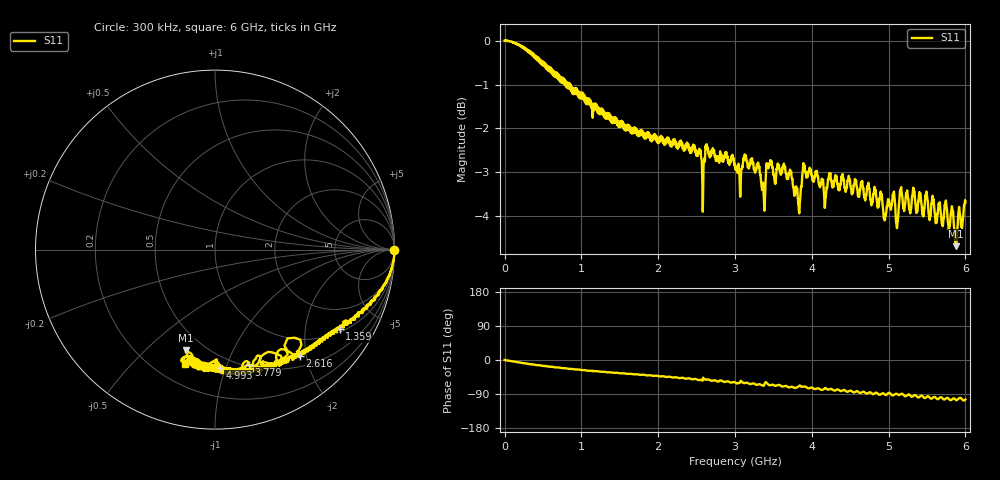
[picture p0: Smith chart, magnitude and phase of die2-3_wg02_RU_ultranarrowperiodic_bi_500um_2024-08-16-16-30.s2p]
!Keysight Technologies,P9374A,MY57304198,A.17.20.09
!Date: Friday, August 16, 2024 16:30:38
!Correction: S11(C  1-Port  )
!S21(C  1-Port  )
!S12(Off)
!S22(Off)
!S2P File: Measurements: S11, S21, S12, S22:
# Hz S  dB  R 50
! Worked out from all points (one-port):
!   6000 points, 300 kHz to 6 GHz, reference 50 ohm
!   lowest |S11| = -4.7 dB at 5.88 GHz (marker M1), VSWR 3.80, Z = 19.8 - j33.8 ohm
!   |S11| at or under -10 dB: nowhere
!   S11 on the Smith chart (normalised r, x): 300 kHz: open; 1.359 GHz: 1.11, -3.06; 2.616 GHz: 0.67, -1.88; 3.779 GHz: 0.51, -1.20; 4.993 GHz: 0.41, -0.95; 6 GHz: 0.33, -0.73
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300000  -0.00 -0.0  -200.00 45.0  -200.00 45.0  -200.00 45.0
4.20349e8  -0.36 -13.2  -200.00 45.0  -200.00 45.0  -200.00 45.0
1.000417e9  -1.28 -26.6  -200.00 45.0  -200.00 45.0  -200.00 45.0
1.359459e9  -1.68 -32.6  -200.00 45.0  -200.00 45.0  -200.00 45.0
2.000533e9  -2.31 -42.4  -200.00 45.0  -200.00 45.0  -200.00 45.0
2.552598e9  -2.51 -52.6  -200.00 45.0  -200.00 45.0  -200.00 45.0
2.615605e9  -2.40 -51.5  -200.00 45.0  -200.00 45.0  -200.00 45.0
3.00065e9  -2.87 -59.0  -200.00 45.0  -200.00 45.0  -200.00 45.0
3.101662e9  -2.81 -59.5  -200.00 45.0  -200.00 45.0  -200.00 45.0
3.355691e9  -3.37 -66.7  -200.00 45.0  -200.00 45.0  -200.00 45.0
3.415698e9  -2.85 -61.2  -200.00 45.0  -200.00 45.0  -200.00 45.0
3.457703e9  -2.77 -66.6  -200.00 45.0  -200.00 45.0  -200.00 45.0
3.778741e9  -3.48 -73.8  -200.00 45.0  -200.00 45.0  -200.00 45.0
3.870752e9  -3.23 -70.5  -200.00 45.0  -200.00 45.0  -200.00 45.0
4.000767e9  -3.07 -72.8  -200.00 45.0  -200.00 45.0  -200.00 45.0
4.88287e9  -3.62 -91.8  -200.00 45.0  -200.00 45.0  -200.00 45.0
4.992882e9  -3.61 -87.8  -200.00 45.0  -200.00 45.0  -200.00 45.0
5.000883e9  -3.66 -86.6  -200.00 45.0  -200.00 45.0  -200.00 45.0
5.493941e9  -3.44 -97.8  -200.00 45.0  -200.00 45.0  -200.00 45.0
5.879986e9  -4.68 -106.0  -200.00 45.0  -200.00 45.0  -200.00 45.0
5.931992e9  -3.97 -99.9  -200.00 45.0  -200.00 45.0  -200.00 45.0
6e9  -3.69 -104.1  -200.00 45.0  -200.00 45.0  -200.00 45.0
